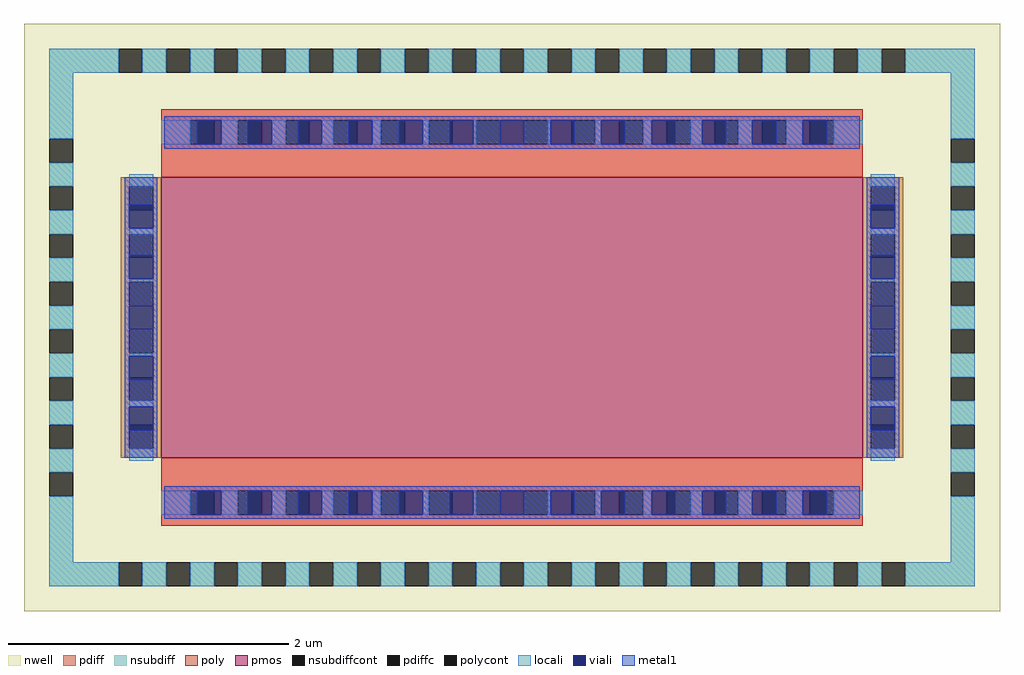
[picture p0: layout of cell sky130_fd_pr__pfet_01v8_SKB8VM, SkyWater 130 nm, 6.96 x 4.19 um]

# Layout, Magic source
magic
tech sky130A
magscale 1 2
<< nwell >>
rect -696 -419 696 419
<< pmos >>
rect -500 -200 500 200
<< pdiff >>
rect -558 187 -500 200
rect -558 153 -546 187
rect -512 153 -500 187
rect -558 119 -500 153
rect -558 85 -546 119
rect -512 85 -500 119
rect -558 51 -500 85
rect -558 17 -546 51
rect -512 17 -500 51
rect -558 -17 -500 17
rect -558 -51 -546 -17
rect -512 -51 -500 -17
rect -558 -85 -500 -51
rect -558 -119 -546 -85
rect -512 -119 -500 -85
rect -558 -153 -500 -119
rect -558 -187 -546 -153
rect -512 -187 -500 -153
rect -558 -200 -500 -187
rect 500 187 558 200
rect 500 153 512 187
rect 546 153 558 187
rect 500 119 558 153
rect 500 85 512 119
rect 546 85 558 119
rect 500 51 558 85
rect 500 17 512 51
rect 546 17 558 51
rect 500 -17 558 17
rect 500 -51 512 -17
rect 546 -51 558 -17
rect 500 -85 558 -51
rect 500 -119 512 -85
rect 546 -119 558 -85
rect 500 -153 558 -119
rect 500 -187 512 -153
rect 546 -187 558 -153
rect 500 -200 558 -187
<< pdiffc >>
rect -546 153 -512 187
rect -546 85 -512 119
rect -546 17 -512 51
rect -546 -51 -512 -17
rect -546 -119 -512 -85
rect -546 -187 -512 -153
rect 512 153 546 187
rect 512 85 546 119
rect 512 17 546 51
rect 512 -51 546 -17
rect 512 -119 546 -85
rect 512 -187 546 -153
<< nsubdiff >>
rect -660 349 -561 383
rect -527 349 -493 383
rect -459 349 -425 383
rect -391 349 -357 383
rect -323 349 -289 383
rect -255 349 -221 383
rect -187 349 -153 383
rect -119 349 -85 383
rect -51 349 -17 383
rect 17 349 51 383
rect 85 349 119 383
rect 153 349 187 383
rect 221 349 255 383
rect 289 349 323 383
rect 357 349 391 383
rect 425 349 459 383
rect 493 349 527 383
rect 561 349 660 383
rect -660 255 -626 349
rect -660 187 -626 221
rect 626 255 660 349
rect -660 119 -626 153
rect -660 51 -626 85
rect -660 -17 -626 17
rect -660 -85 -626 -51
rect -660 -153 -626 -119
rect -660 -221 -626 -187
rect 626 187 660 221
rect 626 119 660 153
rect 626 51 660 85
rect 626 -17 660 17
rect 626 -85 660 -51
rect 626 -153 660 -119
rect -660 -349 -626 -255
rect 626 -221 660 -187
rect 626 -349 660 -255
rect -660 -383 -561 -349
rect -527 -383 -493 -349
rect -459 -383 -425 -349
rect -391 -383 -357 -349
rect -323 -383 -289 -349
rect -255 -383 -221 -349
rect -187 -383 -153 -349
rect -119 -383 -85 -349
rect -51 -383 -17 -349
rect 17 -383 51 -349
rect 85 -383 119 -349
rect 153 -383 187 -349
rect 221 -383 255 -349
rect 289 -383 323 -349
rect 357 -383 391 -349
rect 425 -383 459 -349
rect 493 -383 527 -349
rect 561 -383 660 -349
<< nsubdiffcont >>
rect -561 349 -527 383
rect -493 349 -459 383
rect -425 349 -391 383
rect -357 349 -323 383
rect -289 349 -255 383
rect -221 349 -187 383
rect -153 349 -119 383
rect -85 349 -51 383
rect -17 349 17 383
rect 51 349 85 383
rect 119 349 153 383
rect 187 349 221 383
rect 255 349 289 383
rect 323 349 357 383
rect 391 349 425 383
rect 459 349 493 383
rect 527 349 561 383
rect -660 221 -626 255
rect 626 221 660 255
rect -660 153 -626 187
rect -660 85 -626 119
rect -660 17 -626 51
rect -660 -51 -626 -17
rect -660 -119 -626 -85
rect -660 -187 -626 -153
rect 626 153 660 187
rect 626 85 660 119
rect 626 17 660 51
rect 626 -51 660 -17
rect 626 -119 660 -85
rect 626 -187 660 -153
rect -660 -255 -626 -221
rect 626 -255 660 -221
rect -561 -383 -527 -349
rect -493 -383 -459 -349
rect -425 -383 -391 -349
rect -357 -383 -323 -349
rect -289 -383 -255 -349
rect -221 -383 -187 -349
rect -153 -383 -119 -349
rect -85 -383 -51 -349
rect -17 -383 17 -349
rect 51 -383 85 -349
rect 119 -383 153 -349
rect 187 -383 221 -349
rect 255 -383 289 -349
rect 323 -383 357 -349
rect 391 -383 425 -349
rect 459 -383 493 -349
rect 527 -383 561 -349
<< poly >>
rect -500 281 500 297
rect -500 247 -459 281
rect -425 247 -391 281
rect -357 247 -323 281
rect -289 247 -255 281
rect -221 247 -187 281
rect -153 247 -119 281
rect -85 247 -51 281
rect -17 247 17 281
rect 51 247 85 281
rect 119 247 153 281
rect 187 247 221 281
rect 255 247 289 281
rect 323 247 357 281
rect 391 247 425 281
rect 459 247 500 281
rect -500 200 500 247
rect -500 -247 500 -200
rect -500 -281 -459 -247
rect -425 -281 -391 -247
rect -357 -281 -323 -247
rect -289 -281 -255 -247
rect -221 -281 -187 -247
rect -153 -281 -119 -247
rect -85 -281 -51 -247
rect -17 -281 17 -247
rect 51 -281 85 -247
rect 119 -281 153 -247
rect 187 -281 221 -247
rect 255 -281 289 -247
rect 323 -281 357 -247
rect 391 -281 425 -247
rect 459 -281 500 -247
rect -500 -297 500 -281
<< polycont >>
rect -459 247 -425 281
rect -391 247 -357 281
rect -323 247 -289 281
rect -255 247 -221 281
rect -187 247 -153 281
rect -119 247 -85 281
rect -51 247 -17 281
rect 17 247 51 281
rect 85 247 119 281
rect 153 247 187 281
rect 221 247 255 281
rect 289 247 323 281
rect 357 247 391 281
rect 425 247 459 281
rect -459 -281 -425 -247
rect -391 -281 -357 -247
rect -323 -281 -289 -247
rect -255 -281 -221 -247
rect -187 -281 -153 -247
rect -119 -281 -85 -247
rect -51 -281 -17 -247
rect 17 -281 51 -247
rect 85 -281 119 -247
rect 153 -281 187 -247
rect 221 -281 255 -247
rect 289 -281 323 -247
rect 357 -281 391 -247
rect 425 -281 459 -247
<< locali >>
rect -660 349 -561 383
rect -527 349 -493 383
rect -459 349 -425 383
rect -391 349 -357 383
rect -323 349 -289 383
rect -255 349 -221 383
rect -187 349 -153 383
rect -119 349 -85 383
rect -51 349 -17 383
rect 17 349 51 383
rect 85 349 119 383
rect 153 349 187 383
rect 221 349 255 383
rect 289 349 323 383
rect 357 349 391 383
rect 425 349 459 383
rect 493 349 527 383
rect 561 349 660 383
rect -660 255 -626 349
rect -500 247 -459 281
rect -415 247 -391 281
rect -343 247 -323 281
rect -271 247 -255 281
rect -199 247 -187 281
rect -127 247 -119 281
rect -55 247 -51 281
rect 51 247 55 281
rect 119 247 127 281
rect 187 247 199 281
rect 255 247 271 281
rect 323 247 343 281
rect 391 247 415 281
rect 459 247 500 281
rect 626 255 660 349
rect -660 187 -626 221
rect -660 119 -626 153
rect -660 51 -626 85
rect -660 -17 -626 17
rect -660 -85 -626 -51
rect -660 -153 -626 -119
rect -660 -221 -626 -187
rect -546 187 -512 204
rect -546 119 -512 127
rect -546 51 -512 55
rect -546 -55 -512 -51
rect -546 -127 -512 -119
rect -546 -204 -512 -187
rect 512 187 546 204
rect 512 119 546 127
rect 512 51 546 55
rect 512 -55 546 -51
rect 512 -127 546 -119
rect 512 -204 546 -187
rect 626 187 660 221
rect 626 119 660 153
rect 626 51 660 85
rect 626 -17 660 17
rect 626 -85 660 -51
rect 626 -153 660 -119
rect 626 -221 660 -187
rect -660 -349 -626 -255
rect -500 -281 -459 -247
rect -415 -281 -391 -247
rect -343 -281 -323 -247
rect -271 -281 -255 -247
rect -199 -281 -187 -247
rect -127 -281 -119 -247
rect -55 -281 -51 -247
rect 51 -281 55 -247
rect 119 -281 127 -247
rect 187 -281 199 -247
rect 255 -281 271 -247
rect 323 -281 343 -247
rect 391 -281 415 -247
rect 459 -281 500 -247
rect 626 -349 660 -255
rect -660 -383 -561 -349
rect -527 -383 -493 -349
rect -459 -383 -425 -349
rect -391 -383 -357 -349
rect -323 -383 -289 -349
rect -255 -383 -221 -349
rect -187 -383 -153 -349
rect -119 -383 -85 -349
rect -51 -383 -17 -349
rect 17 -383 51 -349
rect 85 -383 119 -349
rect 153 -383 187 -349
rect 221 -383 255 -349
rect 289 -383 323 -349
rect 357 -383 391 -349
rect 425 -383 459 -349
rect 493 -383 527 -349
rect 561 -383 660 -349
<< viali >>
rect -449 247 -425 281
rect -425 247 -415 281
rect -377 247 -357 281
rect -357 247 -343 281
rect -305 247 -289 281
rect -289 247 -271 281
rect -233 247 -221 281
rect -221 247 -199 281
rect -161 247 -153 281
rect -153 247 -127 281
rect -89 247 -85 281
rect -85 247 -55 281
rect -17 247 17 281
rect 55 247 85 281
rect 85 247 89 281
rect 127 247 153 281
rect 153 247 161 281
rect 199 247 221 281
rect 221 247 233 281
rect 271 247 289 281
rect 289 247 305 281
rect 343 247 357 281
rect 357 247 377 281
rect 415 247 425 281
rect 425 247 449 281
rect -546 153 -512 161
rect -546 127 -512 153
rect -546 85 -512 89
rect -546 55 -512 85
rect -546 -17 -512 17
rect -546 -85 -512 -55
rect -546 -89 -512 -85
rect -546 -153 -512 -127
rect -546 -161 -512 -153
rect 512 153 546 161
rect 512 127 546 153
rect 512 85 546 89
rect 512 55 546 85
rect 512 -17 546 17
rect 512 -85 546 -55
rect 512 -89 546 -85
rect 512 -153 546 -127
rect 512 -161 546 -153
rect -449 -281 -425 -247
rect -425 -281 -415 -247
rect -377 -281 -357 -247
rect -357 -281 -343 -247
rect -305 -281 -289 -247
rect -289 -281 -271 -247
rect -233 -281 -221 -247
rect -221 -281 -199 -247
rect -161 -281 -153 -247
rect -153 -281 -127 -247
rect -89 -281 -85 -247
rect -85 -281 -55 -247
rect -17 -281 17 -247
rect 55 -281 85 -247
rect 85 -281 89 -247
rect 127 -281 153 -247
rect 153 -281 161 -247
rect 199 -281 221 -247
rect 221 -281 233 -247
rect 271 -281 289 -247
rect 289 -281 305 -247
rect 343 -281 357 -247
rect 357 -281 377 -247
rect 415 -281 425 -247
rect 425 -281 449 -247
<< metal1 >>
rect -496 281 496 287
rect -496 247 -449 281
rect -415 247 -377 281
rect -343 247 -305 281
rect -271 247 -233 281
rect -199 247 -161 281
rect -127 247 -89 281
rect -55 247 -17 281
rect 17 247 55 281
rect 89 247 127 281
rect 161 247 199 281
rect 233 247 271 281
rect 305 247 343 281
rect 377 247 415 281
rect 449 247 496 281
rect -496 241 496 247
rect -552 161 -506 200
rect -552 127 -546 161
rect -512 127 -506 161
rect -552 89 -506 127
rect -552 55 -546 89
rect -512 55 -506 89
rect -552 17 -506 55
rect -552 -17 -546 17
rect -512 -17 -506 17
rect -552 -55 -506 -17
rect -552 -89 -546 -55
rect -512 -89 -506 -55
rect -552 -127 -506 -89
rect -552 -161 -546 -127
rect -512 -161 -506 -127
rect -552 -200 -506 -161
rect 506 161 552 200
rect 506 127 512 161
rect 546 127 552 161
rect 506 89 552 127
rect 506 55 512 89
rect 546 55 552 89
rect 506 17 552 55
rect 506 -17 512 17
rect 546 -17 552 17
rect 506 -55 552 -17
rect 506 -89 512 -55
rect 546 -89 552 -55
rect 506 -127 552 -89
rect 506 -161 512 -127
rect 546 -161 552 -127
rect 506 -200 552 -161
rect -496 -247 496 -241
rect -496 -281 -449 -247
rect -415 -281 -377 -247
rect -343 -281 -305 -247
rect -271 -281 -233 -247
rect -199 -281 -161 -247
rect -127 -281 -89 -247
rect -55 -281 -17 -247
rect 17 -281 55 -247
rect 89 -281 127 -247
rect 161 -281 199 -247
rect 233 -281 271 -247
rect 305 -281 343 -247
rect 377 -281 415 -247
rect 449 -281 496 -247
rect -496 -287 496 -281
<< properties >>
string FIXED_BBOX -643 -366 643 366
<< end >>
